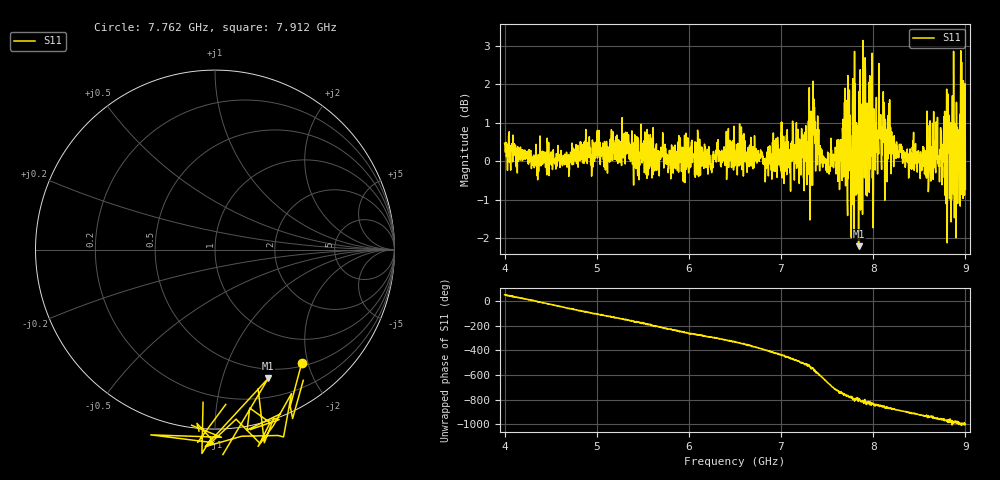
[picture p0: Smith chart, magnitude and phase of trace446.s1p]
! Created with skrf 1.8.0 (http://scikit-rf.org).
# Hz S RI R 50.0
!freq ReS11 ImS11
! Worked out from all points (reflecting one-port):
!   1601 points, 4 GHz to 9 GHz, reference 50 ohm
!   lowest |S11| = -2.2 dB at 7.841 GHz (marker M1), VSWR 7.92, Z = 19.8 - j71.1 ohm
!   phase of S11 starts at 51 deg and turns -1047 deg over the sweep
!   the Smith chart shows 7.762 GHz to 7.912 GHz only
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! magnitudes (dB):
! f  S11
! 4 GHz  0.5
! 4.625 GHz  -0.1
! 5.25 GHz  0.0
! 5.875 GHz  -0.2
! 6.5 GHz  0.2
! 7.125 GHz  1.0
! 7.306 GHz  1.9
! 7.369 GHz  0.5
! 7.438 GHz  0.0
! 7.512 GHz  0.0
! 7.638 GHz  -0.2
! 7.684 GHz  -0.3
! 7.738 GHz  0.4
! 7.75 GHz  -0.2
! 7.769 GHz  0.3
! 7.841 GHz  -2.2
! 7.944 GHz  1.5
! 7.962 GHz  2.2
! 8.022 GHz  -0.2
! 8.088 GHz  0.0
! 8.375 GHz  0.1
! 8.581 GHz  -0.2
! 8.678 GHz  -0.3
! 8.728 GHz  0.1
! 8.834 GHz  1.0
! 8.9 GHz  -2.0
! 8.972 GHz  0.7
! 9 GHz  -0.7
